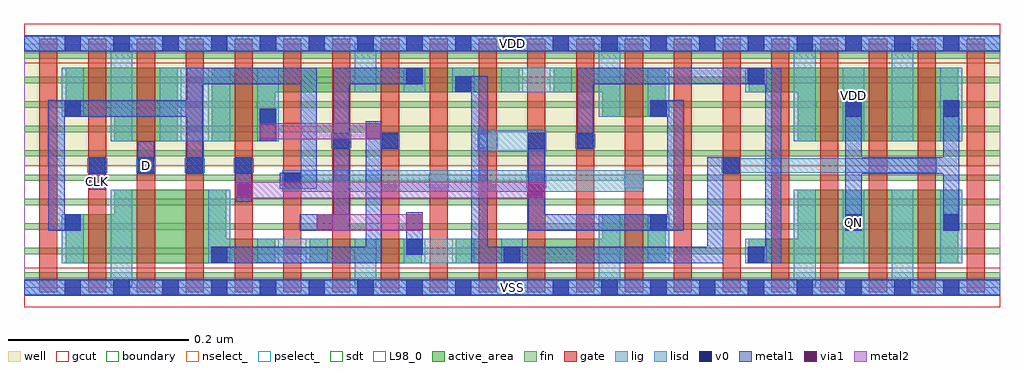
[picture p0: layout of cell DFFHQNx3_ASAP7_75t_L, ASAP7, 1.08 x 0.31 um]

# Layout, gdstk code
import gdstk
lib = gdstk.Library(unit=1e-6, precision=2.5e-10)
def R(c, l, rs):  # rectangles x0, y0, x1, y1
    for r in rs: c.add(gdstk.rectangle(r[:2], r[2:], *l))
def A(c, l, x, y, w, h, nx, ny, dx, dy):  # array of equal rectangles
    R(c, l, [(x+i*dx, y+j*dy, x+i*dx+w, y+j*dy+h) for i in range(nx) for j in range(ny)])
def P(c, l, *ps):  # polygons
    for p in ps: c.add(gdstk.Polygon(p, *l))
well = (1, 0)
fin = (2, 0)
gate = (7, 0)
gcut = (10, 0)
active_area = (11, 0)
nselect_ = (12, 0)
pselect_ = (13, 0)
lig = (16, 0)
lisd = (17, 0)
v0 = (18, 0)
metal1 = (19, 0)
metal2 = (20, 0)
via1 = (21, 0)
sdt = (88, 0)
L98_0 = (98, 0)
boundary = (100, 0)

dffhqnx3_asap7_75t_l = lib.new_cell('DFFHQNx3_ASAP7_75t_L')
R(dffhqnx3_asap7_75t_l, well, [(0,0.135,1.08,0.27)])
A(dffhqnx3_asap7_75t_l, fin, 0, 0.01, 1.08, 0.007, 1, 10, 0, 0.027)
A(dffhqnx3_asap7_75t_l, gate, 0.017, -0.005, 0.02, 0.28, 20, 1, 0.054, 0)
R(dffhqnx3_asap7_75t_l, gcut, [(0,-0.022,1.08,0.022), (0,0.248,1.08,0.292)])
R(dffhqnx3_asap7_75t_l, active_area, [(0.316,0.027,0.44,0.054)])
P(dffhqnx3_asap7_75t_l, active_area, [(0.478,0.027),(0.478,0.054),(0.64,0.054),(0.64,0.081),(0.71,0.081),(0.71,0.027)],
  [(0.802,0.027),(0.802,0.054),(0.856,0.054),(0.856,0.108),(1.034,0.108),(1.034,0.027)],
  [(0.046,0.027),(0.046,0.081),(0.1,0.081),(0.1,0.108),(0.224,0.108),(0.224,0.054),(0.278,0.054),(0.278,0.027)],
  [(0.856,0.162),(0.856,0.216),(0.802,0.216),(0.802,0.243),(1.034,0.243),(1.034,0.162)],
  [(0.64,0.189),(0.64,0.216),(0.586,0.216),(0.586,0.243),(0.71,0.243),(0.71,0.189)],
  [(0.208,0.162),(0.208,0.243),(0.548,0.243),(0.548,0.216),(0.278,0.216),(0.278,0.162)],
  [(0.1,0.162),(0.1,0.189),(0.046,0.189),(0.046,0.243),(0.17,0.243),(0.17,0.162)])
R(dffhqnx3_asap7_75t_l, nselect_, [(0,0,1.08,0.135)])
R(dffhqnx3_asap7_75t_l, pselect_, [(0,0.135,1.08,0.27)])
A(dffhqnx3_asap7_75t_l, lig, 0.448, 0.11, 0.022, 0.016, 3, 1, 0.108, 0)
A(dffhqnx3_asap7_75t_l, lig, 0.07, 0.127, 0.022, 0.016, 4, 1, 0.054, 0)
A(dffhqnx3_asap7_75t_l, lig, 0.394, 0.154, 0.022, 0.016, 3, 1, 0.108, 0)
R(dffhqnx3_asap7_75t_l, lig, [(0,-0.008,1.08,0.008), (0.286,0.11,0.308,0.126), (0.772,0.127,1.01,0.143), (0.34,0.154,0.362,0.17), (0,0.262,1.08,0.278)])
R(dffhqnx3_asap7_75t_l, lisd, [(0.096,0,0.12,0.108), (0.366,0,0.39,0.054), (0.636,0,0.66,0.081), (0.852,0,0.876,0.108), (0.96,0,0.984,0.108), (0.042,0.027,0.066,0.081), (0.204,0.027,0.228,0.108), (0.258,0.027,0.336,0.054), (0.42,0.027,0.498,0.054), (0.528,0.027,0.552,0.054), (0.69,0.027,0.714,0.081), (0.798,0.027,0.822,0.054), (0.906,0.027,0.93,0.108), (1.014,0.027,1.038,0.108), (0.286,0.106,0.448,0.13), (0.448,0.106,0.686,0.13), (0.502,0.15,0.578,0.174), (0.096,0.162,0.12,0.27), (0.15,0.162,0.228,0.243), (0.258,0.162,0.282,0.243), (0.852,0.162,0.876,0.27), (0.906,0.162,0.93,0.243), (0.96,0.162,0.984,0.27), (1.014,0.162,1.038,0.243), (0.042,0.189,0.066,0.243), (0.636,0.189,0.66,0.27), (0.69,0.189,0.714,0.243), (0.366,0.216,0.39,0.27), (0.42,0.216,0.444,0.243), (0.474,0.216,0.498,0.243), (0.528,0.216,0.606,0.243), (0.798,0.216,0.822,0.243)])
A(dffhqnx3_asap7_75t_l, v0, 0.045, -0.009, 0.018, 0.018, 19, 2, 0.054, 0.27)
A(dffhqnx3_asap7_75t_l, v0, 0.072, 0.126, 0.018, 0.018, 4, 1, 0.054, 0)
R(dffhqnx3_asap7_75t_l, v0, [(0.207,0.027,0.225,0.045), (0.531,0.027,0.549,0.045), (0.801,0.027,0.819,0.045), (0.423,0.036,0.441,0.054), (0.045,0.063,0.063,0.081), (0.693,0.063,0.711,0.081), (0.909,0.063,0.927,0.081), (1.017,0.063,1.035,0.081), (0.288,0.109,0.306,0.127), (0.774,0.126,0.792,0.144), (0.342,0.153,0.36,0.171), (0.396,0.153,0.414,0.171), (0.558,0.153,0.576,0.171), (0.612,0.153,0.63,0.171), (0.261,0.18,0.279,0.198), (0.045,0.189,0.063,0.207), (0.693,0.189,0.711,0.207), (0.909,0.189,0.927,0.207), (1.017,0.189,1.035,0.207), (0.477,0.216,0.495,0.234), (0.423,0.225,0.441,0.243), (0.801,0.225,0.819,0.243)])
R(dffhqnx3_asap7_75t_l, metal1, [(0,-0.009,1.08,0.009), (0.423,0.036,0.441,0.083), (0.234,0.095,0.252,0.144), (0.072,0.108,0.09,0.144), (0.126,0.126,0.144,0.162), (0.261,0.162,0.279,0.198), (0,0.261,1.08,0.279)])
P(dffhqnx3_asap7_75t_l, metal1, [(0.909,0.063),(0.909,0.207),(0.927,0.207),(0.927,0.144),(1.017,0.144),(1.017,0.207),(1.035,0.207),(1.035,0.063),(1.017,0.063),(1.017,0.126),(0.927,0.126),(0.927,0.063)],
  [(0.495,0.027),(0.495,0.216),(0.477,0.216),(0.477,0.234),(0.513,0.234),(0.513,0.045),(0.756,0.045),(0.756,0.144),(0.792,0.144),(0.792,0.126),(0.774,0.126),(0.774,0.027)],
  [(0.558,0.063),(0.558,0.171),(0.576,0.171),(0.576,0.081),(0.712,0.081),(0.712,0.189),(0.693,0.189),(0.693,0.207),(0.73,0.207),(0.73,0.063)],
  [(0.027,0.063),(0.027,0.207),(0.18,0.207),(0.18,0.243),(0.324,0.243),(0.324,0.109),(0.283,0.109),(0.283,0.127),(0.306,0.127),(0.306,0.225),(0.198,0.225),(0.198,0.126),(0.18,0.126),(0.18,0.189),(0.045,0.189),(0.045,0.081),(0.063,0.081),(0.063,0.063)],
  [(0.305,0.063),(0.305,0.081),(0.342,0.081),(0.342,0.243),(0.441,0.243),(0.441,0.225),(0.36,0.225),(0.36,0.063)],
  [(0.207,0.027),(0.207,0.045),(0.378,0.045),(0.378,0.184),(0.396,0.184),(0.396,0.171),(0.414,0.171),(0.414,0.153),(0.396,0.153),(0.396,0.027)],
  [(0.801,0.027),(0.801,0.045),(0.82,0.045),(0.82,0.225),(0.63,0.225),(0.63,0.153),(0.612,0.153),(0.612,0.243),(0.838,0.243),(0.838,0.027)])
R(dffhqnx3_asap7_75t_l, metal2, [(0.324,0.063,0.441,0.081), (0.234,0.099,0.576,0.117), (0.261,0.164,0.396,0.182)])
R(dffhqnx3_asap7_75t_l, via1, [(0.324,0.063,0.342,0.081), (0.423,0.063,0.441,0.081), (0.234,0.099,0.252,0.117), (0.558,0.099,0.576,0.117), (0.261,0.164,0.279,0.182), (0.378,0.164,0.396,0.182)])
A(dffhqnx3_asap7_75t_l, sdt, 0.258, 0.027, 0.024, 0.027, 6, 1, 0.054, 0)
A(dffhqnx3_asap7_75t_l, sdt, 0.852, 0.027, 0.024, 0.081, 4, 2, 0.054, 0.135)
A(dffhqnx3_asap7_75t_l, sdt, 0.096, 0.162, 0.024, 0.081, 4, 1, 0.054, 0)
A(dffhqnx3_asap7_75t_l, sdt, 0.366, 0.216, 0.024, 0.027, 5, 1, 0.054, 0)
R(dffhqnx3_asap7_75t_l, sdt, [(0.042,0.027,0.066,0.081), (0.096,0.027,0.12,0.108), (0.204,0.027,0.228,0.108), (0.636,0.027,0.66,0.081), (0.69,0.027,0.714,0.081), (0.798,0.027,0.822,0.054), (0.042,0.189,0.066,0.243), (0.636,0.189,0.66,0.243), (0.69,0.189,0.714,0.243), (0.798,0.216,0.822,0.243)])
R(dffhqnx3_asap7_75t_l, L98_0, [(0,0,1.08,0.27)])
R(dffhqnx3_asap7_75t_l, boundary, [(0,0,1.08,0.27)])
dffhqnx3_asap7_75t_l.add(gdstk.Label('D', (0.135,0.135), layer=19, texttype=251))
dffhqnx3_asap7_75t_l.add(gdstk.Label('CLK', (0.081,0.117), layer=19, texttype=251))
dffhqnx3_asap7_75t_l.add(gdstk.Label('QN', (0.918,0.072), layer=19, texttype=251))
dffhqnx3_asap7_75t_l.add(gdstk.Label('VSS', (0.54,0), layer=19, texttype=251))
dffhqnx3_asap7_75t_l.add(gdstk.Label('VDD', (0.54,0.27), layer=19, texttype=251))
dffhqnx3_asap7_75t_l.add(gdstk.Label('VDD', (0.918,0.213), layer=1, texttype=251))
dffhqnx3_asap7_75t_l.add(gdstk.Label('VSS', (1.242,0.213), layer=3, texttype=251))

lib.write_gds('DFFHQNx3_ASAP7_75t_L.gds')
